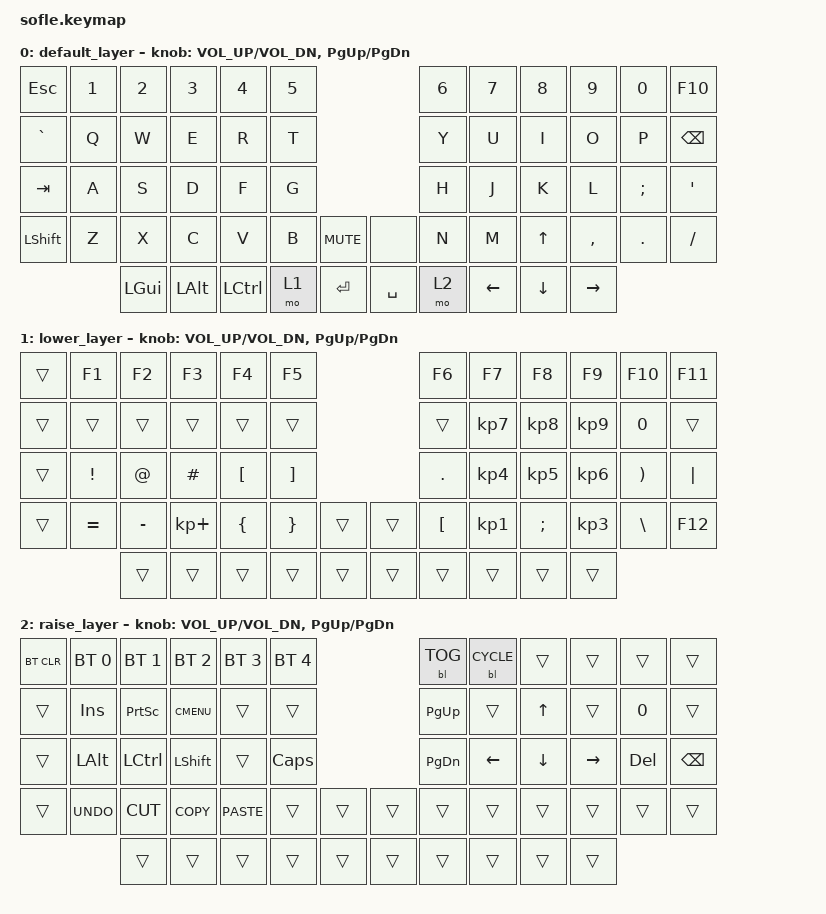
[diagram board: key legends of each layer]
/*
 * Copyright (c) 2020 The ZMK Contributors
 *
 * SPDX-License-Identifier: MIT
 */
#include <dt-bindings/zmk/keys.h>
#include <behaviors.dtsi>
#include <dt-bindings/zmk/backlight.h>
#include <dt-bindings/zmk/bt.h>


#define BASE 0
#define LOWER 1
#define RAISE 2
#define ADJUST 3

/ {
    // Activate ADJUST layer by pressing raise and lower

    conditional_layers {
        compatible = "zmk,conditional-layers";

        adjust_layer {
            if-layers = <1 2>;
            then-layer = <3>;
        };
    };

    keymap {
        compatible = "zmk,keymap";

        default_layer {
            // ------------------------------------------------------------------------------------------------------------
            // |  ESC  |  1  |  2  |  3   |  4   |  5   |                   |  6   |  7    |  8    |  9   |   0   |  F10  |
            // |   ~`  |  Q  |  W  |  E   |  R   |  T   |                   |  Y   |  U    |  I    |  O   |   P   | BKSPC |
            // |  TAB  |  A  |  S  |  D   |  F   |  G   |                   |  H   |  J    |  K    |  L   |   ;   |   '   |
            // | SHIFT |  Z  |  X  |  C   |  V   |  B   |  MUTE  |  |       |  N   |  M    |  UP   |  ,   |   .   |   /   |
            //               | GUI | ALT  | CTRL | LOWER|  ENTER |  | SPACE | RAISE| Right  | DOWN | Left |

            bindings = <
&kp ESC  &kp N1  &kp N2    &kp N3    &kp N4     &kp N5                           &kp N6  &kp N7          &kp N8          &kp N9           &kp N0    &kp F10
&kp GRAVE    &kp Q   &kp W     &kp E     &kp R      &kp T                            &kp Y   &kp U           &kp I           &kp O            &kp P     &kp BSPC
&kp TAB    &kp A   &kp S     &kp D     &kp F      &kp G                            &kp H   &kp J           &kp K           &kp L            &kp SEMI  &kp SQT
&kp LSHFT  &kp Z   &kp X     &kp C     &kp V      &kp B   &kp C_MUTE    &none      &kp N   &kp M           &kp UP_ARROW    &kp COMMA        &kp DOT   &kp SLASH
                   &kp LGUI  &kp LALT  &kp LCTRL  &mo 1   &kp RET       &kp SPACE  &mo 2   &kp LEFT_ARROW  &kp DOWN_ARROW  &kp RIGHT_ARROW
            >;

            sensor-bindings = <&inc_dec_kp C_VOL_UP C_VOL_DN &inc_dec_kp PG_UP PG_DN>;
        };

        lower_layer {
          

            bindings = <
&trans  &kp F1     &kp F2     &kp F3       &kp F4            &kp F5                               &kp F6      &kp F7           &kp F8           &kp F9           &kp F10   &kp F11
&trans  &trans     &trans     &trans       &trans            &trans                               &trans      &kp KP_NUMBER_7  &kp KP_NUMBER_8  &kp KP_NUMBER_9  &kp N0    &trans
&trans  &kp EXCL   &kp AT     &kp HASH     &kp LEFT_BRACKET  &kp RIGHT_BRACKET                    &kp PERIOD  &kp KP_NUMBER_4  &kp KP_NUMBER_5  &kp KP_NUMBER_6  &kp RPAR  &kp PIPE
&trans  &kp EQUAL  &kp MINUS  &kp KP_PLUS  &kp LBRC          &kp RBRC           &trans    &trans  &kp LBKT    &kp KP_NUMBER_1  &kp SEMI         &kp KP_NUMBER_3  &kp BSLH  &kp F12
                   &trans     &trans       &trans            &trans             &trans    &trans  &trans      &trans           &trans           &trans
            >;

            sensor-bindings = <&inc_dec_kp C_VOL_UP C_VOL_DN &inc_dec_kp PG_UP PG_DN>;
        };

        raise_layer {
            // ------------------------------------------------------------------------------------------------------------
            // |BTCLR| BT1  | BT2  |  BT3  |  BT4  |  BT5 |                |      |      |       |      |       |       |
            // |     | INS  | PSCR | GUI   |       |      |                | PGUP |      |   ^   |      |       |       |
            // |     | ALT  | CTRL | SHIFT |       | CAPS |                | PGDN |   <- |   v   |  ->  |  DEL  | BKSPC |
            // |     | UNDO | CUT  | COPY  | PASTE |      |      |  |      |      |      |       |      |       |       |
            //              |      |       |       |      |      |  |      |      |      |       |      |

            bindings = <
&bt BT_CLR  &bt BT_SEL 0  &bt BT_SEL 1  &bt BT_SEL 2  &bt BT_SEL 3  &bt BT_SEL 4                    &bl BL_TOG  &bl BL_CYCLE  &trans    &trans     &trans   &trans
&trans      &kp INS       &kp PSCRN     &kp K_CMENU   &trans        &trans                          &kp PG_UP   &trans        &kp UP    &trans     &kp N0   &trans
&trans      &kp LALT      &kp LCTRL     &kp LSHFT     &trans        &kp CLCK                        &kp PG_DN   &kp LEFT      &kp DOWN  &kp RIGHT  &kp DEL  &kp BSPC
&trans      &kp K_UNDO    &kp K_CUT     &kp K_COPY    &kp K_PASTE   &trans        &trans    &trans  &trans      &trans        &trans    &trans     &trans   &trans
                          &trans        &trans        &trans        &trans        &trans    &trans  &trans      &trans        &trans    &trans
            >;

            sensor-bindings = <&inc_dec_kp C_VOL_UP C_VOL_DN &inc_dec_kp PG_UP PG_DN>;
        };
    adjust_layer {
        // ------------------------------------------------------------------------------------------------------------
        // |BTCLR | BT1   | BT2   |  BT3  |  BT4  |  BT5  |                |      |      |       |      |       |       |
        // |EXTPWR|RGB_HUD|RGB_HUI|RGB_SAD|RGB_SAI|RGB_EFF|                |      |      |       |      |       |       |
        // |      |RGB_BRD|RGB_BRI|       |       |       |                |      |      |       |      |       |       |
        // |      |       |       |       |       |       |RGB_TOG| |      |      |      |       |      |       |       |
        //                |       |       |       |       |       | |      |      |      |       |      |
    };
};
